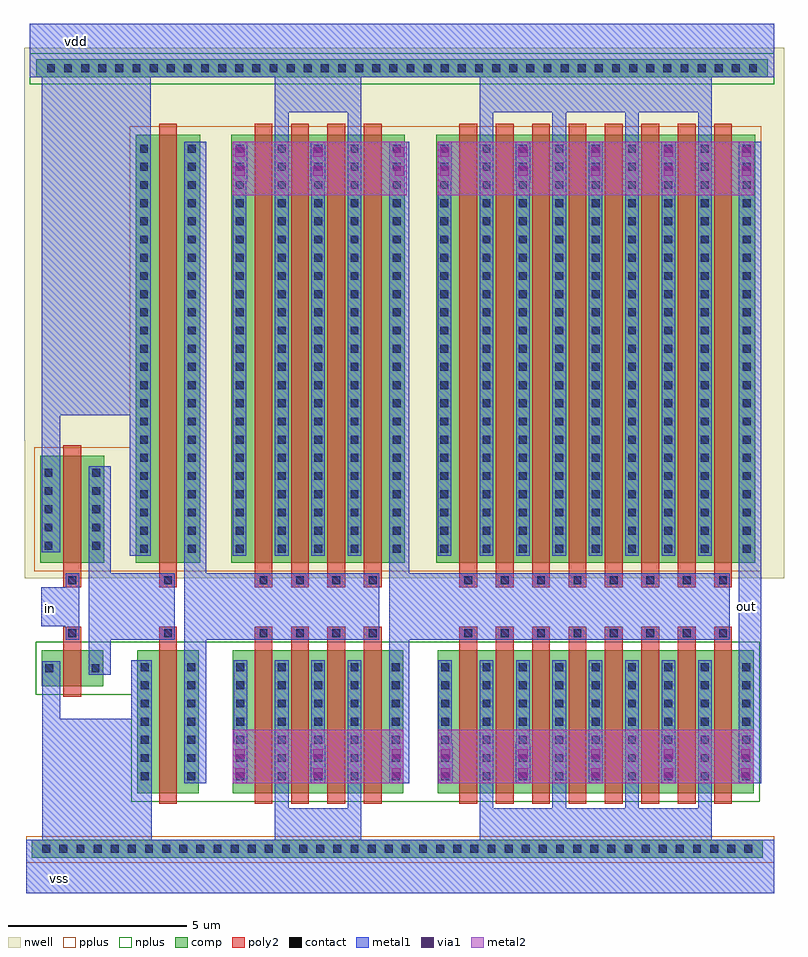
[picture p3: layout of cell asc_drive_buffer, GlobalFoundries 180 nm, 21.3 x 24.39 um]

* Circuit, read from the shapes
.subckt asc_drive_buffer in out vdd vss
XM1 n1 in vss vss nfet_03v3 w=1u l=0.5u
XM2 n2 n1 vss vss nfet_03v3 w=4u l=0.5u
XM3 vss n2 n3 vss nfet_03v3 w=4u l=0.5u m=4
XM4 vss n3 out vss nfet_03v3 w=4u l=0.5u m=8
XM5 n1 in vdd vdd pfet_03v3 w=3u l=0.5u
XM6 n2 n1 vdd vdd pfet_03v3 w=12u l=0.5u
XM7 vdd n2 n3 vdd pfet_03v3 w=12u l=0.5u m=4
XM8 vdd n3 out vdd pfet_03v3 w=12u l=0.5u m=8
.ends

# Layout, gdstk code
from math import pi, radians
import gdstk
lib = gdstk.Library(unit=1e-6, precision=1e-09)
def R(c, l, rs):  # rectangles x0, y0, x1, y1
    for r in rs: c.add(gdstk.rectangle(r[:2], r[2:], *l))
def A(c, l, x, y, w, h, nx, ny, dx, dy):  # array of equal rectangles
    R(c, l, [(x+i*dx, y+j*dy, x+i*dx+w, y+j*dy+h) for i in range(nx) for j in range(ny)])
nwell = (21, 0)
comp = (22, 0)
poly2 = (30, 0)
pplus = (31, 0)
nplus = (32, 0)
contact = (33, 0)
metal1 = (34, 0)
via1 = (35, 0)
metal2 = (36, 0)

via_dev_821 = lib.new_cell('via_dev$821')
R(via_dev_821, metal1, [(0,0,1.1,0.4)])
R(via_dev_821, via1, [(0.155,0.07,0.415,0.33), (0.685,0.07,0.945,0.33)])
R(via_dev_821, metal2, [(0,0,1.1,0.4)])

nfet_281 = lib.new_cell('nfet$281')
R(nfet_281, comp, [(-0.42,0,0,4), (0,0,3.94,4), (3.94,0,4.36,4)])
A(nfet_281, poly2, 0.19, -0.3, 0.5, 4.6, 4, 1, 1.02, 0)
A(nfet_281, poly2, 0.19, 4.3, 0.5, 0.36, 4, 1, 1.02, 0)
R(nfet_281, nplus, [(-0.59,-0.24,4.53,4.24)])
A(nfet_281, contact, -0.32, 0.36, 0.22, 0.22, 1, 7, 0, 0.51)
A(nfet_281, contact, 0.84, 0.36, 0.22, 0.22, 3, 7, 1.02, 0.51)
A(nfet_281, contact, 4.04, 0.36, 0.22, 0.22, 1, 7, 0, 0.51)
A(nfet_281, contact, 0.33, 4.37, 0.22, 0.22, 4, 1, 1.02, 0)
A(nfet_281, metal1, 0.76, 0.28, 0.38, 3.44, 3, 1, 1.02, 0)
A(nfet_281, metal1, 0.25, 4.29, 0.38, 0.38, 4, 1, 1.02, 0)
R(nfet_281, metal1, [(-0.4,0.28,-0.02,3.72), (3.96,0.28,4.34,3.72)])

via_dev_822 = lib.new_cell('via_dev$822')
R(via_dev_822, comp, [(0,0,20.5,0.5)])
A(via_dev_822, contact, 0.3, 0.14, 0.22, 0.22, 42, 1, 0.48, 0)
R(via_dev_822, metal1, [(0,0,20.5,0.5)])

nfet_282 = lib.new_cell('nfet$282')
R(nfet_282, comp, [(-0.42,0,0,4), (0,0,8.02,4), (8.02,0,8.44,4)])
A(nfet_282, poly2, 0.19, -0.3, 0.5, 4.6, 8, 1, 1.02, 0)
A(nfet_282, poly2, 0.19, 4.3, 0.5, 0.36, 8, 1, 1.02, 0)
R(nfet_282, nplus, [(-0.59,-0.24,8.61,4.24)])
A(nfet_282, contact, -0.32, 0.36, 0.22, 0.22, 1, 7, 0, 0.51)
A(nfet_282, contact, 0.84, 0.36, 0.22, 0.22, 7, 7, 1.02, 0.51)
A(nfet_282, contact, 8.12, 0.36, 0.22, 0.22, 1, 7, 0, 0.51)
A(nfet_282, contact, 0.33, 4.37, 0.22, 0.22, 8, 1, 1.02, 0)
A(nfet_282, metal1, 0.76, 0.28, 0.38, 3.44, 7, 1, 1.02, 0)
A(nfet_282, metal1, 0.25, 4.29, 0.38, 0.38, 8, 1, 1.02, 0)
R(nfet_282, metal1, [(-0.4,0.28,-0.02,3.72), (8.04,0.28,8.42,3.72)])

pfet_262 = lib.new_cell('pfet$262')
R(pfet_262, nwell, [(-0.9,-0.44,8.92,12.44)])
R(pfet_262, comp, [(-0.46,0,0,12), (0,0,8.02,12), (8.02,0,8.48,12)])
A(pfet_262, poly2, 0.19, -0.68, 0.5, 0.38, 8, 1, 1.02, 0)
A(pfet_262, poly2, 0.19, -0.3, 0.5, 12.6, 8, 1, 1.02, 0)
R(pfet_262, pplus, [(-0.63,-0.24,8.65,12.24)])
A(pfet_262, contact, 0.33, -0.6, 0.22, 0.22, 8, 1, 1.02, 0)
A(pfet_262, contact, -0.34, 0.28, 0.22, 0.22, 1, 23, 0, 0.51)
A(pfet_262, contact, 0.84, 0.28, 0.22, 0.22, 7, 23, 1.02, 0.51)
A(pfet_262, contact, 8.14, 0.28, 0.22, 0.22, 1, 23, 0, 0.51)
A(pfet_262, metal1, 0.25, -0.68, 0.38, 0.38, 8, 1, 1.02, 0)
A(pfet_262, metal1, 0.76, 0.2, 0.38, 11.6, 7, 1, 1.02, 0)
R(pfet_262, metal1, [(-0.42,0.2,-0.04,11.8), (8.06,0.2,8.44,11.8)])

via_dev_823 = lib.new_cell('via_dev$823')

pfet_263 = lib.new_cell('pfet$263')
R(pfet_263, nwell, [(-0.9,-0.44,4.84,12.44)])
R(pfet_263, comp, [(-0.46,0,0,12), (0,0,3.94,12), (3.94,0,4.4,12)])
A(pfet_263, poly2, 0.19, -0.68, 0.5, 0.38, 4, 1, 1.02, 0)
A(pfet_263, poly2, 0.19, -0.3, 0.5, 12.6, 4, 1, 1.02, 0)
R(pfet_263, pplus, [(-0.63,-0.24,4.57,12.24)])
A(pfet_263, contact, 0.33, -0.6, 0.22, 0.22, 4, 1, 1.02, 0)
A(pfet_263, contact, -0.34, 0.28, 0.22, 0.22, 1, 23, 0, 0.51)
A(pfet_263, contact, 0.84, 0.28, 0.22, 0.22, 3, 23, 1.02, 0.51)
A(pfet_263, contact, 4.06, 0.28, 0.22, 0.22, 1, 23, 0, 0.51)
A(pfet_263, metal1, 0.25, -0.68, 0.38, 0.38, 4, 1, 1.02, 0)
A(pfet_263, metal1, 0.76, 0.2, 0.38, 11.6, 3, 1, 1.02, 0)
R(pfet_263, metal1, [(-0.42,0.2,-0.04,11.8), (3.98,0.2,4.36,11.8)])

nfet_283 = lib.new_cell('nfet$283')
R(nfet_283, comp, [(-0.42,0,0,4), (0,0,0.88,4), (0.88,0,1.3,4)])
R(nfet_283, poly2, [(0.19,-0.3,0.69,4.3), (0.19,4.3,0.69,4.66)])
R(nfet_283, nplus, [(-0.59,-0.24,1.47,4.24)])
A(nfet_283, contact, -0.32, 0.36, 0.22, 0.22, 1, 7, 0, 0.51)
A(nfet_283, contact, 0.98, 0.36, 0.22, 0.22, 1, 7, 0, 0.51)
R(nfet_283, contact, [(0.33,4.37,0.55,4.59)])
R(nfet_283, metal1, [(-0.4,0.28,-0.02,3.72), (0.9,0.28,1.28,3.72), (0.25,4.29,0.63,4.67)])

pfet_264 = lib.new_cell('pfet$264')
R(pfet_264, nwell, [(-0.9,-0.44,1.78,12.44)])
R(pfet_264, comp, [(-0.46,0,0,12), (0,0,0.88,12), (0.88,0,1.34,12)])
R(pfet_264, poly2, [(0.19,-0.68,0.69,-0.3), (0.19,-0.3,0.69,12.3)])
R(pfet_264, pplus, [(-0.63,-0.24,1.51,12.24)])
A(pfet_264, contact, -0.34, 0.28, 0.22, 0.22, 1, 23, 0, 0.51)
A(pfet_264, contact, 1, 0.28, 0.22, 0.22, 1, 23, 0, 0.51)
R(pfet_264, contact, [(0.33,-0.6,0.55,-0.38)])
R(pfet_264, metal1, [(0.25,-0.68,0.63,-0.3), (-0.42,0.2,-0.04,11.8), (0.92,0.2,1.3,11.8)])

nfet_284 = lib.new_cell('nfet$284')
R(nfet_284, comp, [(-0.42,0,0,1), (0,0,0.88,1), (0.88,0,1.3,1)])
R(nfet_284, poly2, [(0.19,-0.3,0.69,1.3), (0.19,1.3,0.69,1.66)])
R(nfet_284, nplus, [(-0.59,-0.24,1.47,1.24)])
R(nfet_284, contact, [(-0.32,0.39,-0.1,0.61), (0.98,0.39,1.2,0.61), (0.33,1.37,0.55,1.59)])
R(nfet_284, metal1, [(-0.4,0.31,-0.02,0.69), (0.9,0.31,1.28,0.69), (0.25,1.29,0.63,1.67)])

pfet_265 = lib.new_cell('pfet$265')
R(pfet_265, nwell, [(-0.9,-0.44,1.78,3.44)])
R(pfet_265, comp, [(-0.46,0,0,3), (0,0,0.88,3), (0.88,0,1.34,3)])
R(pfet_265, poly2, [(0.19,-0.68,0.69,-0.3), (0.19,-0.3,0.69,3.3)])
R(pfet_265, pplus, [(-0.63,-0.24,1.51,3.24)])
A(pfet_265, contact, -0.34, 0.37, 0.22, 0.22, 1, 5, 0, 0.51)
A(pfet_265, contact, 1, 0.37, 0.22, 0.22, 1, 5, 0, 0.51)
R(pfet_265, contact, [(0.33,-0.6,0.55,-0.38)])
R(pfet_265, metal1, [(0.25,-0.68,0.63,-0.3), (-0.42,0.29,-0.04,2.71), (0.92,0.29,1.3,2.71)])

asc_drive_buffer = lib.new_cell('asc_drive_buffer')
R(asc_drive_buffer, nwell, [(36.45,0.435,36.82,13.315), (15.515,4.315,18.21,13.115), (15.515,13.115,18.21,13.315), (15.515,13.315,36.82,15.315)])
R(asc_drive_buffer, pplus, [(15.58,-7.535,36.55,-6.785), (17.94,0.635,18.48,4.115), (20.62,0.635,21.16,13.115), (26.36,0.635,26.9,13.115)])
R(asc_drive_buffer, nplus, [(20.58,-5.82,21.2,-1.34), (26.32,-5.82,26.94,-1.34), (17.9,-2.82,18.52,-1.34), (15.675,14.29,36.55,15.155)])
A(asc_drive_buffer, metal1, 28.29, -6.895, 0.38, 1.595, 4, 1, 2.04, 0)
A(asc_drive_buffer, metal1, 28.29, 12.675, 0.38, 1.815, 4, 1, 2.04, 0)
R(asc_drive_buffer, metal1, [(15.58,-8.395,36.55,-6.895), (15.58,-7.395,15.73,-6.895), (16.03,-6.895,16.535,-1.89), (16.535,-6.895,18.52,-3.5), (18.52,-6.895,19.09,-1.86), (22.55,-6.895,22.93,-5.3), (22.93,-6.895,24.59,-6), (24.59,-6.895,24.97,-5.3), (28.67,-6.895,34.41,-6.005), (25.75,-5.305,26.32,12.675), (20.01,-5.3,20.62,12.675), (35.55,-5.3,36.18,12.675), (17.33,-2.27,17.94,3.585), (17.94,-1.29,19.74,0.575), (20.62,-1.29,25.48,0.575), (26.32,-1.29,35.3,0.575), (16,-0.91,17.06,0.195), (19.36,-0.91,19.74,0.195), (18.48,1.075,19.07,14.49), (17.35,1.095,17.73,1.165), (16.01,1.165,16.525,14.49), (16.525,5.005,18.48,14.49), (22.55,12.675,22.93,14.49), (24.59,12.675,24.97,14.49), (28.67,13.5,34.41,14.49), (22.93,13.505,24.59,14.49), (15.675,14.49,36.55,15.99), (15.71,14.49,15.86,14.99)])
R(asc_drive_buffer, metal2, [(21.37,-5.305,26.15,-3.8), (27.13,-5.305,35.97,-3.8), (21.37,11.175,26.24,12.675), (27.11,11.175,35.97,12.675)])
asc_drive_buffer.add(gdstk.Reference(via_dev_821, (21.77,-5.3), rotation=pi/2))
asc_drive_buffer.add(gdstk.Reference(nfet_281, (21.79,-5.58)))
asc_drive_buffer.add(gdstk.Reference(via_dev_822, (15.86,14.49)))
asc_drive_buffer.add(gdstk.Reference(via_dev_822, (15.73,-7.395)))
asc_drive_buffer.add(gdstk.Reference(nfet_282, (27.53,-5.58)))
asc_drive_buffer.add(gdstk.Reference(via_dev_821, (23.96,-5.3), rotation=pi/2))
asc_drive_buffer.add(gdstk.Reference(pfet_262, (27.53,0.875)))
asc_drive_buffer.add(gdstk.Reference(via_dev_823, (20.43,-6.6), rotation=pi/2))
asc_drive_buffer.add(gdstk.Reference(pfet_263, (21.79,0.875)))
asc_drive_buffer.add(gdstk.Reference(nfet_283, (19.11,-5.58)))
asc_drive_buffer.add(gdstk.Reference(via_dev_823, (17.75,-6.6), rotation=pi/2))
asc_drive_buffer.add(gdstk.Reference(pfet_264, (19.11,0.875)))
asc_drive_buffer.add(gdstk.Reference(via_dev_823, (13.45,-6.6), rotation=pi/2))
asc_drive_buffer.add(gdstk.Reference(nfet_284, (16.43,-2.58)))
asc_drive_buffer.add(gdstk.Reference(via_dev_821, (26.15,-5.3), rotation=pi/2))
asc_drive_buffer.add(gdstk.Reference(pfet_265, (16.43,0.875)))
asc_drive_buffer.add(gdstk.Reference(via_dev_821, (21.77,11.575), rotation=pi/2))
asc_drive_buffer.add(gdstk.Reference(via_dev_821, (23.96,11.575), rotation=pi/2))
asc_drive_buffer.add(gdstk.Reference(via_dev_821, (26.24,11.575), rotation=pi/2))
asc_drive_buffer.add(gdstk.Reference(via_dev_821, (27.51,11.575), rotation=pi/2))
asc_drive_buffer.add(gdstk.Reference(via_dev_821, (29.7,11.575), rotation=pi/2))
asc_drive_buffer.add(gdstk.Reference(via_dev_821, (31.74,11.575), rotation=pi/2))
asc_drive_buffer.add(gdstk.Reference(via_dev_821, (33.78,11.575), rotation=pi/2))
asc_drive_buffer.add(gdstk.Reference(via_dev_821, (35.97,11.575), rotation=pi/2))
asc_drive_buffer.add(gdstk.Reference(via_dev_821, (27.53,-5.3), rotation=pi/2))
asc_drive_buffer.add(gdstk.Reference(via_dev_821, (29.7,-5.3), rotation=pi/2))
asc_drive_buffer.add(gdstk.Reference(via_dev_821, (31.74,-5.3), rotation=pi/2))
asc_drive_buffer.add(gdstk.Reference(via_dev_821, (33.78,-5.3), rotation=pi/2))
asc_drive_buffer.add(gdstk.Reference(via_dev_821, (35.95,-5.3), rotation=pi/2))
asc_drive_buffer.add(gdstk.Label('vss', (16.515,-7.99), layer=34, texttype=10))
asc_drive_buffer.add(gdstk.Label('in', (16.265,-0.395), layer=34, texttype=10))
asc_drive_buffer.add(gdstk.Label('vdd', (16.975,15.49), layer=34, texttype=10))
asc_drive_buffer.add(gdstk.Label('out', (35.765,-0.365), layer=34, texttype=10))

lib.write_gds('asc_drive_buffer.gds')
